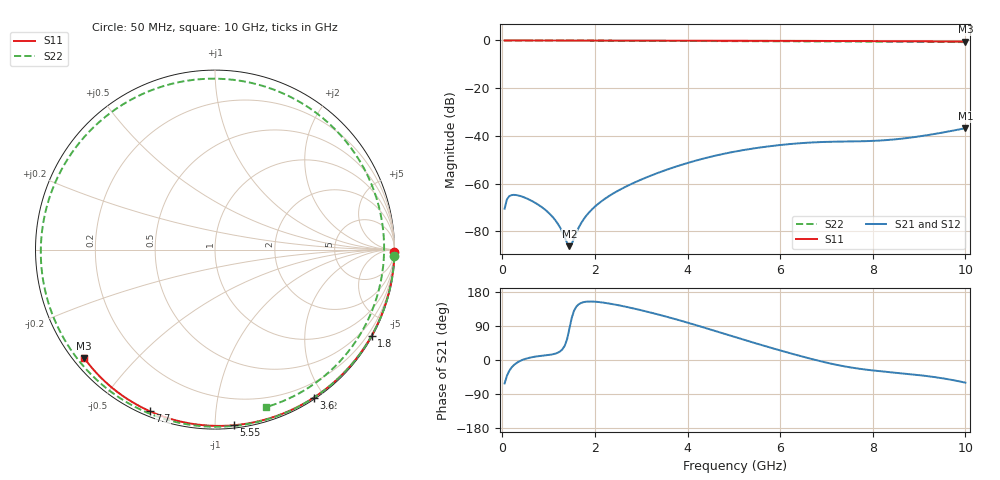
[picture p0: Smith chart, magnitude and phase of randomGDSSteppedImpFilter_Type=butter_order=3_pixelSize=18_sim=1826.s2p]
! freq	dB(S11)	phase(S11)	dB(S12)	phase(S12)
!  dB(S21)	phase(S21)	dB(S22)	phase(S22)
!S-par simulation data
#  GHz  S  DB  R 50
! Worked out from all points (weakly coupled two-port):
!   200 points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, 50 MHz to 10 GHz, reference 50 ohm
!   highest |S21| = -36.76 dB at 10 GHz (marker M1); lowest = -86.2 dB at 1.45 GHz (marker M2)
!   lowest |S11| = -0.5 dB at 10 GHz (marker M3), VSWR 36.55, Z = 1.55 - j18 ohm
!   |S11| at or under -10 dB: nowhere
!   |S22| runs from -0.7 to 0.0 dB; largest |S21 - S12| = 0
!   S11 on the Smith chart (normalised r, x): 50 MHz: open; 1.8 GHz: 0.03, -3.88; 3.6 GHz: 0.02, -1.87; 5.55 GHz: 0.02, -1.11; 7.7 GHz: 0.02, -0.67; 10 GHz: 0.03, -0.36
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0.05  -0.00 -0.8  -70.49 -61.8  -70.49 -61.8  -0.00 -1.9
0.15  -0.00 -2.4  -65.27 -28.6  -65.27 -28.6  -0.00 -5.8
0.45  -0.01 -7.3  -65.58 0.9  -65.58 0.9  -0.01 -17.3
0.95  -0.02 -15.4  -71.34 12.5  -71.34 12.5  -0.04 -36.3
1.3  -0.03 -21.0  -80.36 28.4  -80.36 28.4  -0.06 -49.4
1.45  -0.03 -23.3  -86.20 82.7  -86.20 82.7  -0.07 -54.9
1.6  -0.03 -25.7  -80.48 141.0  -80.48 141.0  -0.08 -60.5
1.75  -0.04 -28.1  -75.12 152.5  -75.12 152.5  -0.08 -66.0
1.8  -0.04 -28.9  -73.78 153.7  -73.78 153.7  -0.09 -67.8
2.4  -0.05 -38.2  -64.06 147.1  -64.06 147.1  -0.11 -89.5
3.4  -0.07 -53.4  -55.22 119.1  -55.22 119.1  -0.16 -125.4
3.6  -0.08 -56.3  -53.84 112.5  -53.84 112.5  -0.17 -132.6
4.35  -0.10 -67.2  -49.46 85.9  -49.46 85.9  -0.22 -160.4
5.05  -0.12 -77.1  -46.47 59.6  -46.47 59.6  -0.28 171.9
5.55  -0.14 -84.0  -44.90 41.2  -44.90 41.2  -0.32 150.4
6.2  -0.17 -92.7  -43.43 18.4  -43.43 18.4  -0.38 120.0
6.7  -0.19 -99.2  -42.73 2.0  -42.73 2.0  -0.42 94.4
7.2  -0.22 -105.6  -42.41 -12.3  -42.41 -12.3  -0.45 67.4
7.7  -0.26 -112.0  -42.27 -22.9  -42.27 -22.9  -0.48 39.7
8.35  -0.31 -120.1  -41.67 -31.8  -41.67 -31.8  -0.51 4.4
9.2  -0.39 -130.5  -39.62 -42.9  -39.62 -42.9  -0.58 -37.7
10  -0.48 -140.3  -36.76 -59.9  -36.76 -59.9  -0.70 -72.2
